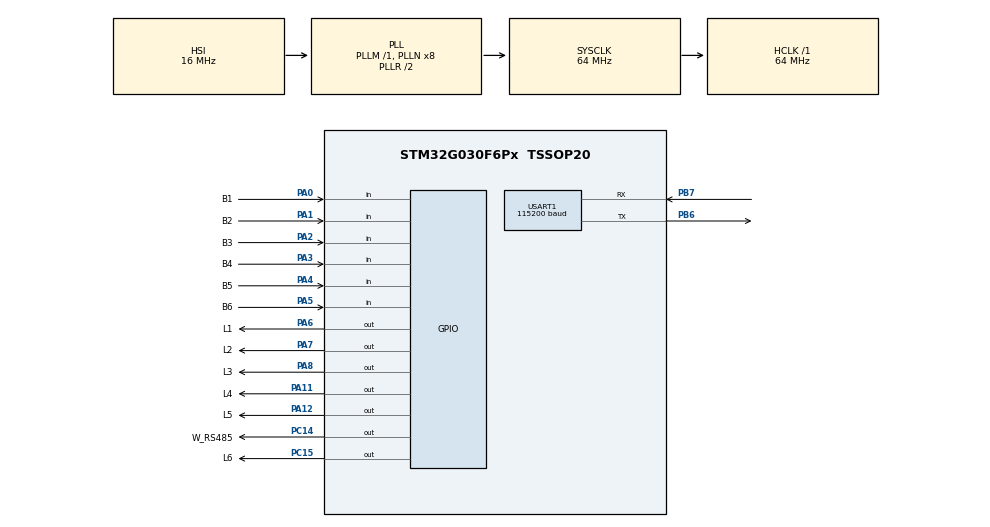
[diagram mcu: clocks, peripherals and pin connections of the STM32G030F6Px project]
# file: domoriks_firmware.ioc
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Dma.Request0=USART1_RX
Dma.USART1_RX.0.Direction=DMA_PERIPH_TO_MEMORY
Dma.USART1_RX.0.EventEnable=DISABLE
Dma.USART1_RX.0.Instance=DMA1_Channel1
Dma.USART1_RX.0.MemDataAlignment=DMA_MDATAALIGN_BYTE
Dma.USART1_RX.0.MemInc=DMA_MINC_ENABLE
Dma.USART1_RX.0.Mode=DMA_NORMAL
Dma.USART1_RX.0.PeriphDataAlignment=DMA_PDATAALIGN_BYTE
Dma.USART1_RX.0.PeriphInc=DMA_PINC_DISABLE
Dma.USART1_RX.0.Polarity=HAL_DMAMUX_REQ_GEN_RISING
Dma.USART1_RX.0.Priority=DMA_PRIORITY_LOW
Dma.USART1_RX.0.RequestNumber=1
Dma.USART1_RX.0.SignalID=NONE
Dma.USART1_RX.0.SyncEnable=DISABLE
Dma.USART1_RX.0.SyncPolarity=HAL_DMAMUX_SYNC_NO_EVENT
Dma.USART1_RX.0.SyncRequestNumber=1
Dma.USART1_RX.0.SyncSignalID=NONE
IWDG.Prescaler=IWDG_PRESCALER_256
IWDG.Reload=375
IWDG.Window=375
Mcu.Family=STM32G0
Mcu.Name=STM32G030F6Px
Mcu.Package=TSSOP20
NVIC.DMA1_Channel1_IRQn=true\:0\:0\:false\:false\:true\:false\:true\:true
NVIC.FLASH_IRQn=true\:0\:0\:false\:false\:true\:true\:true\:true
NVIC.TIM14_IRQn=true\:1\:0\:true\:false\:true\:true\:true\:true
NVIC.USART1_IRQn=true\:1\:0\:true\:false\:true\:true\:true\:true
PA0.GPIO_Label=B1
PA0.GPIO_PuPd=GPIO_NOPULL
PA0.Signal=GPIO_Input
PA1.GPIO_Label=B2
PA1.Signal=GPIO_Input
PA11\ [PA9].GPIO_Label=L4
PA11\ [PA9].Signal=GPIO_Output
PA12\ [PA10].GPIO_Label=L5
PA12\ [PA10].Signal=GPIO_Output
PA13.Mode=Serial_Wire
PA13.Signal=SYS_SWDIO
PA14-BOOT0.Mode=Serial_Wire
PA14-BOOT0.Signal=SYS_SWCLK
PA14-BOOT0__PA15.StandardMode=true
PA2.GPIO_Label=B3
PA2.Signal=GPIO_Input
PA3.GPIO_Label=B4
PA3.Signal=GPIO_Input
PA4.GPIO_Label=B5
PA4.Signal=GPIO_Input
PA5.GPIO_Label=B6
PA5.Signal=GPIO_Input
PA6.GPIO_Label=L1
PA6.Signal=GPIO_Output
PA7.GPIO_Label=L2
PA7.Signal=GPIO_Output
PA8.GPIO_Label=L3
PA8.Signal=GPIO_Output
PB0__PB1__PB2__PA8.StandardMode=true
PB3__PB4__PB5__PB6.StandardMode=true
PB6.GPIO_FM6=SYSCFG_FASTMODEPLUS_PB6
PB6.GPIO_Speed=GPIO_SPEED_FREQ_MEDIUM
PB6.Mode=Asynchronous
PB6.Signal=USART1_TX
PB7.Mode=Asynchronous
PB7.Signal=USART1_RX
PB7__PB8.StandardMode=true
PC14-OSC32_IN\ (PC14).GPIO_Label=W_RS485
PC14-OSC32_IN\ (PC14).Signal=GPIO_Output
PC14-OSC32_IN\ (PC14)__PB9.StandardMode=true
PC15-OSC32_OUT\ (PC15).GPIO_Label=L6
PC15-OSC32_OUT\ (PC15).Signal=GPIO_Output
ProjectManager.HeapSize=0x200
ProjectManager.StackSize=0x400
ProjectManager.TargetToolchain=STM32CubeIDE
RCC.ADCFreq_Value=64000000
RCC.AHBFreq_Value=64000000
RCC.CortexFreq_Value=64000000
RCC.EXTERNAL_CLOCK_VALUE=12288000
RCC.HCLKFreq_Value=64000000
RCC.HSE_VALUE=8000000
RCC.HSI_VALUE=16000000
RCC.LSE_VALUE=32768
RCC.SYSCLKFreq_VALUE=64000000
RCC.SYSCLKSource=RCC_SYSCLKSOURCE_PLLCLK
RCC.USART1CLockSelection=RCC_USART1CLKSOURCE_SYSCLK
RCC.VCOOutputFreq_Value=128000000
TIM14.AutoReloadPreload=TIM_AUTORELOAD_PRELOAD_ENABLE
TIM14.Period=39999
TIM14.Prescaler=15
TIM16.Prescaler=63
USART1.BaudRate=115200
USART1.DMADisableonRxErrorParam=ADVFEATURE_DMA_DISABLEONRXERROR
USART1.OverSampling=UART_OVERSAMPLING_16
USART1.VirtualMode-Asynchronous=VM_ASYNC
VP_IWDG_VS_IWDG.Mode=IWDG_Activate
VP_TIM14_VS_ClockSourceINT.Mode=Enable_Timer
VP_TIM16_VS_ClockSourceINT.Mode=Enable_Timer
board=custom

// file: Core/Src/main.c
/* USER CODE BEGIN Header */
/**
  ******************************************************************************
  * @file           : main.c
  * @brief          : Main program body
  ******************************************************************************
  * @attention
  *
  * Copyright (c) 2022 STMicroelectronics.
  * All rights reserved.
  *
  * This software is licensed under terms that can be found in the LICENSE file
  * in the root directory of this software component.
  * If no LICENSE file comes with this software, it is provided AS-IS.
  *
  ******************************************************************************
  */
/* USER CODE END Header */
#include "main.h"

/* USER CODE BEGIN Includes */
#include <stdbool.h>
#include <stdint.h>

#include "timer.h"

#include "Actions/actions.h"
#include "Flash/flash.h"

#include "IO/inputs.h"
#include "IO/input_handler.h"

#include "IO/outputs.h"

#include "Modbus/modbus.h"
#include "Modbus/modbusm.h"
#include "Modbus/modbus_ascii.h"
#include "Modbus/modbus_rtu.h"
#include "Modbus/modbusm_handler.h"

#include "Actions/actions.h"
/* USER CODE END Includes */

IWDG_HandleTypeDef hiwdg;

TIM_HandleTypeDef htim14;
TIM_HandleTypeDef htim16;

UART_HandleTypeDef huart1;
DMA_HandleTypeDef hdma_usart1_rx;

void SystemClock_Config(void);
static void MX_GPIO_Init(void);
static void MX_DMA_Init(void);
static void MX_USART1_UART_Init(void);
static void MX_TIM14_Init(void);
static void MX_IWDG_Init(void);
static void MX_TIM16_Init(void);

/* USER CODE BEGIN 0 */
uint8_t MODBUS_ID;
//#define SAVE_2_FLASH
//#define UPLOAD_NEW_MODBUS_ID
#ifdef UPLOAD_NEW_MODBUS_ID
  __attribute__((section(".modbus_id"))) const uint8_t new_id = 11;  // Logic ID, e.g., 1
#endif

volatile uint8_t uart_rxBuffer[UART_BUFFER_SIZE] = { 0 };
volatile uint8_t new_rxdata = 0;
volatile uint16_t rxDataLen = 0;

/* USER CODE END 0 */

int main(void)
{

  /* MCU Configuration--------------------------------------------------------*/

  /* Reset of all peripherals, Initializes the Flash interface and the Systick. */
  HAL_Init();

  /* Configure the system clock */
  SystemClock_Config();

  /* Initialize all configured peripherals */
  MX_GPIO_Init();
  MX_DMA_Init();
  MX_USART1_UART_Init();
  MX_TIM14_Init();
  MX_IWDG_Init();
  MX_TIM16_Init();
  /* USER CODE BEGIN 2 */
  HAL_TIM_Base_Start_IT(&htim14);

  /* Initialize microsecond timer used for Modbus T3.5 detection */
  timer_us_init();

  HAL_UARTEx_ReceiveToIdle_DMA(&huart1, uart_rxBuffer, UART_BUFFER_SIZE);
  __HAL_UART_ENABLE_IT(&huart1, UART_IT_IDLE);
  __HAL_DMA_DISABLE_IT(&hdma_usart1_rx, DMA_IT_HT);

  MODBUS_ID = *(uint8_t*)MODBUS_ID_ADDRESS;

  HAL_GPIO_WritePin(L6_GPIO_Port, L6_Pin, 0);
  HAL_GPIO_WritePin(L5_GPIO_Port, L5_Pin, 0);
  HAL_GPIO_WritePin(L4_GPIO_Port, L4_Pin, 0);
  HAL_GPIO_WritePin(L3_GPIO_Port, L3_Pin, 0);
  HAL_GPIO_WritePin(L2_GPIO_Port, L2_Pin, !0);
  HAL_GPIO_WritePin(L1_GPIO_Port, L1_Pin, !0);
  HAL_IWDG_Refresh(&hiwdg);
  HAL_Delay(500);

  for (int i = 0; i < MODBUS_ID / 10; i++)
  {
	  HAL_IWDG_Refresh(&hiwdg);
	  HAL_GPIO_WritePin(L1_GPIO_Port, L1_Pin, !1);
	  HAL_Delay(250);
	  HAL_GPIO_WritePin(L1_GPIO_Port, L1_Pin, !0);
	  HAL_Delay(150);
  }

  HAL_IWDG_Refresh(&hiwdg);
  HAL_Delay(500);

  for (int i = 0; i < MODBUS_ID % 10; i++)
  {
	  HAL_IWDG_Refresh(&hiwdg);
	  HAL_GPIO_WritePin(L1_GPIO_Port, L1_Pin, !1);
	  HAL_Delay(250);
	  HAL_GPIO_WritePin(L1_GPIO_Port, L1_Pin, !0);
	  HAL_Delay(150);
  }

  HAL_IWDG_Refresh(&hiwdg);
  uint32_t timer_blink = TIMER_SET();
  HAL_GPIO_WritePin(W_RS485_GPIO_Port, W_RS485_Pin, 0); //Set RS485 in read mode

#ifdef SAVE_2_FLASH

  // Project: Test project
  // Generated by Domoriks Configurator

  // Module: Module 1
//  EventAction input1_singlePress = { toggle, nop, 0, 100, 64, 0, 0, 0 };
//  EventAction input2_singlePress = { toggle, nop, 0, 100, 64, 2, 0, 0 };
//  EventAction input3_singlePress = { toggle, nop, 0, 100, 64, 3, 0, 0 };
//  EventAction input4_singlePress = { toggle, nop, 0, 100, 64, 7, 0, 0 };
//  EventAction input5_singlePress = { toggle, nop, 0, 100, 2, 4, 0, 0 };
//  EventAction input6_singlePress = { toggle, nop, 0, 100, 2, 5, 0, 0 };

//  // Module: Module 2
//  EventAction input1_singlePress = { toggle, nop, 0, 100, 1, 0, 0, 0 };
//  EventAction input2_singlePress = { toggle, nop, 0, 100, 1, 1, 0, 0 };
//  EventAction input3_singlePress = { toggle, nop, 0, 100, 1, 2, 0, 0 };
//  EventAction input4_singlePress = { toggle, nop, 0, 100, 1, 3, 0, 0 };
//  EventAction input5_singlePress = { toggle, nop, 0, 100, 1, 4, 0, 0 };
//  EventAction input6_singlePress = { toggle, nop, 0, 100, 1, 5, 0, 0 };

//  // Module: Module 3
//  EventAction input1_singlePress = { toggle, nop, 0, 100, 4, 0, 0, 0 };
//  EventAction input2_singlePress = { toggle, nop, 0, 100, 4, 1, 0, 0 };
//  EventAction input3_singlePress = { toggle, nop, 0, 100, 4, 2, 0, 0 };
//  EventAction input4_singlePress = { toggle, nop, 0, 100, 4, 3, 0, 0 };
//  EventAction input5_singlePress = { toggle, nop, 0, 100, 4, 4, 0, 0 };
//  EventAction input6_singlePress = { toggle, nop, 0, 100, 4, 5, 0, 0 };
//
//  // Module: Module 4
//  EventAction input1_singlePress = { toggle, nop, 0, 100, 3, 0, 0, 0 };
//  EventAction input2_singlePress = { toggle, nop, 0, 100, 3, 1, 0, 0 };
//  EventAction input3_singlePress = { toggle, nop, 0, 100, 3, 2, 0, 0 };
//  EventAction input4_singlePress = { toggle, nop, 0, 100, 3, 3, 0, 0 };
//  EventAction input5_singlePress = { toggle, nop, 0, 100, 3, 4, 0, 0 };
//  EventAction input6_singlePress = { toggle, nop, 0, 100, 3, 5, 0, 0 };

  Flash_Erase(USERDATA_ORIGIN, USERDATA_LENGTH);
  Flash_WriteInputs(inputs);
  Flash_WriteInputActions(inputActions);
  Flash_WriteExtraActions(extraActions);
  Flash_WriteOutputs(outputs);
#endif //SAVE_2_FLASH

  Flash_ReadInputs(inputs);
  Flash_ReadInputActions(inputActions);
  Flash_ReadExtraActions(extraActions);
  Flash_ReadOutputs(outputs);

  /* USER CODE END 2 */

  /* Infinite loop */
  /* USER CODE BEGIN WHILE */
  HAL_TIM_Base_Start_IT(&htim14);

  while (1)
  {
	//feed the dog
	HAL_IWDG_Refresh(&hiwdg); 		//375 * 8ms = 3sec
									//256ms 32 * (32000khz/256=8ms) OLD

    //call every 10ms
    //GLOBAL_TIMER_TICK(); -> interrupt (done in stm32g0xxit.c)

    if (TIMER_ELAPSED_MS(timer_blink, 1000)) {
      timer_blink = TIMER_SET();

    }
    //read inputs
    update_inputs();

    //input handler
    input_handler();

    //prep registers
    modbus_get_outputs();

    //modbus RS485
    modbus();

    //Parse single output
    modbus_set_outputs();

    modbus_parse_register(); // always after set. this write outputs directly
    modbus_parse_action_update();

    //write outputs
    update_outputs();
    /* USER CODE END WHILE */

  }
}

void SystemClock_Config(void)
{
  RCC_OscInitTypeDef RCC_OscInitStruct = {0};
  RCC_ClkInitTypeDef RCC_ClkInitStruct = {0};

  /** Configure the main internal regulator output voltage
  */
  HAL_PWREx_ControlVoltageScaling(PWR_REGULATOR_VOLTAGE_SCALE1);

  /** Initializes the RCC Oscillators according to the specified parameters
  * in the RCC_OscInitTypeDef structure.
  */
  RCC_OscInitStruct.OscillatorType = RCC_OSCILLATORTYPE_HSI|RCC_OSCILLATORTYPE_LSI;
  RCC_OscInitStruct.HSIState = RCC_HSI_ON;
  RCC_OscInitStruct.HSIDiv = RCC_HSI_DIV1;
  RCC_OscInitStruct.HSICalibrationValue = RCC_HSICALIBRATION_DEFAULT;
  RCC_OscInitStruct.LSIState = RCC_LSI_ON;
  RCC_OscInitStruct.PLL.PLLState = RCC_PLL_ON;
  RCC_OscInitStruct.PLL.PLLSource = RCC_PLLSOURCE_HSI;
  RCC_OscInitStruct.PLL.PLLM = RCC_PLLM_DIV1;
  RCC_OscInitStruct.PLL.PLLN = 8;
  RCC_OscInitStruct.PLL.PLLP = RCC_PLLP_DIV2;
  RCC_OscInitStruct.PLL.PLLR = RCC_PLLR_DIV2;
  if (HAL_RCC_OscConfig(&RCC_OscInitStruct) != HAL_OK)
  {
    Error_Handler();
  }

  /** Initializes the CPU, AHB and APB buses clocks
  */
  RCC_ClkInitStruct.ClockType = RCC_CLOCKTYPE_HCLK|RCC_CLOCKTYPE_SYSCLK
                              |RCC_CLOCKTYPE_PCLK1;
  RCC_ClkInitStruct.SYSCLKSource = RCC_SYSCLKSOURCE_PLLCLK;
  RCC_ClkInitStruct.AHBCLKDivider = RCC_SYSCLK_DIV1;
  RCC_ClkInitStruct.APB1CLKDivider = RCC_HCLK_DIV1;

  if (HAL_RCC_ClockConfig(&RCC_ClkInitStruct, FLASH_LATENCY_2) != HAL_OK)
  {
    Error_Handler();
  }
}

static void MX_IWDG_Init(void)
{

  hiwdg.Instance = IWDG;
  hiwdg.Init.Prescaler = IWDG_PRESCALER_256;
  hiwdg.Init.Window = 375;
  hiwdg.Init.Reload = 375;
  if (HAL_IWDG_Init(&hiwdg) != HAL_OK)
  {
    Error_Handler();
  }

}

static void MX_TIM14_Init(void)
{

  htim14.Instance = TIM14;
  htim14.Init.Prescaler = 15;
  htim14.Init.CounterMode = TIM_COUNTERMODE_UP;
  htim14.Init.Period = 39999;
  htim14.Init.ClockDivision = TIM_CLOCKDIVISION_DIV1;
  htim14.Init.AutoReloadPreload = TIM_AUTORELOAD_PRELOAD_ENABLE;
  if (HAL_TIM_Base_Init(&htim14) != HAL_OK)
  {
    Error_Handler();
  }

}

static void MX_TIM16_Init(void)
{

  htim16.Instance = TIM16;
  htim16.Init.Prescaler = 63;
  htim16.Init.CounterMode = TIM_COUNTERMODE_UP;
  htim16.Init.Period = 65535;
  htim16.Init.ClockDivision = TIM_CLOCKDIVISION_DIV1;
  htim16.Init.RepetitionCounter = 0;
  htim16.Init.AutoReloadPreload = TIM_AUTORELOAD_PRELOAD_DISABLE;
  if (HAL_TIM_Base_Init(&htim16) != HAL_OK)
  {
    Error_Handler();
  }

}

static void MX_USART1_UART_Init(void)
{

  huart1.Instance = USART1;
  huart1.Init.BaudRate = 115200;
  huart1.Init.WordLength = UART_WORDLENGTH_8B;
  huart1.Init.StopBits = UART_STOPBITS_1;
  huart1.Init.Parity = UART_PARITY_NONE;
  huart1.Init.Mode = UART_MODE_TX_RX;
  huart1.Init.HwFlowCtl = UART_HWCONTROL_NONE;
  huart1.Init.OverSampling = UART_OVERSAMPLING_16;
  huart1.Init.OneBitSampling = UART_ONE_BIT_SAMPLE_DISABLE;
  huart1.Init.ClockPrescaler = UART_PRESCALER_DIV1;
  huart1.AdvancedInit.AdvFeatureInit = UART_ADVFEATURE_DMADISABLEONERROR_INIT;
  huart1.AdvancedInit.DMADisableonRxError = UART_ADVFEATURE_DMA_DISABLEONRXERROR;
  if (HAL_UART_Init(&huart1) != HAL_OK)
  {
    Error_Handler();
  }
  if (HAL_UARTEx_SetTxFifoThreshold(&huart1, UART_TXFIFO_THRESHOLD_1_8) != HAL_OK)
  {
    Error_Handler();
  }
  if (HAL_UARTEx_SetRxFifoThreshold(&huart1, UART_RXFIFO_THRESHOLD_1_8) != HAL_OK)
  {
    Error_Handler();
  }
  if (HAL_UARTEx_DisableFifoMode(&huart1) != HAL_OK)
  {
    Error_Handler();
  }

}

static void MX_DMA_Init(void)
{

  /* DMA controller clock enable */
  __HAL_RCC_DMA1_CLK_ENABLE();

  /* DMA interrupt init */
  /* DMA1_Channel1_IRQn interrupt configuration */
  HAL_NVIC_SetPriority(DMA1_Channel1_IRQn, 0, 0);
  HAL_NVIC_EnableIRQ(DMA1_Channel1_IRQn);

}

static void MX_GPIO_Init(void)
{
  GPIO_InitTypeDef GPIO_InitStruct = {0};

  /* GPIO Ports Clock Enable */
  __HAL_RCC_GPIOB_CLK_ENABLE();
  __HAL_RCC_GPIOC_CLK_ENABLE();
  __HAL_RCC_GPIOA_CLK_ENABLE();

  /*Configure GPIO pin Output Level */
  HAL_GPIO_WritePin(GPIOC, W_RS485_Pin|L6_Pin, GPIO_PIN_RESET);

  /*Configure GPIO pin Output Level */
  HAL_GPIO_WritePin(GPIOA, L1_Pin|L2_Pin|L3_Pin|L4_Pin
                          |L5_Pin, GPIO_PIN_RESET);

  /*Configure GPIO pins : W_RS485_Pin L6_Pin */
  GPIO_InitStruct.Pin = W_RS485_Pin|L6_Pin;
  GPIO_InitStruct.Mode = GPIO_MODE_OUTPUT_PP;
  GPIO_InitStruct.Pull = GPIO_NOPULL;
  GPIO_InitStruct.Speed = GPIO_SPEED_FREQ_LOW;
  HAL_GPIO_Init(GPIOC, &GPIO_InitStruct);

  /*Configure GPIO pins : B1_Pin B2_Pin B3_Pin B4_Pin
                           B5_Pin B6_Pin */
  GPIO_InitStruct.Pin = B1_Pin|B2_Pin|B3_Pin|B4_Pin
                          |B5_Pin|B6_Pin;
  GPIO_InitStruct.Mode = GPIO_MODE_INPUT;
  GPIO_InitStruct.Pull = GPIO_NOPULL;
  HAL_GPIO_Init(GPIOA, &GPIO_InitStruct);

  /*Configure GPIO pins : L1_Pin L2_Pin L3_Pin L4_Pin
                           L5_Pin */
  GPIO_InitStruct.Pin = L1_Pin|L2_Pin|L3_Pin|L4_Pin
                          |L5_Pin;
  GPIO_InitStruct.Mode = GPIO_MODE_OUTPUT_PP;
  GPIO_InitStruct.Pull = GPIO_NOPULL;
  GPIO_InitStruct.Speed = GPIO_SPEED_FREQ_LOW;
  HAL_GPIO_Init(GPIOA, &GPIO_InitStruct);

}

/* USER CODE BEGIN 4 */
void HAL_UARTEx_RxEventCallback(UART_HandleTypeDef *huart, uint16_t size)
{
	if (huart->Instance == USART1)
	{
		__HAL_UART_CLEAR_IDLEFLAG(huart);
		uint8_t overflow = 0;
		if (size >= UART_BUFFER_SIZE) // Check if buffer might be full
		{
			// Wait for idle line to ensure complete reception
			while (__HAL_UART_GET_FLAG(huart, UART_FLAG_IDLE) == RESET) {}

			// Check for overflow condition
			if (__HAL_UART_GET_FLAG(huart, UART_FLAG_ORE) != RESET)
			{
				overflow = 1;
				__HAL_UART_CLEAR_OREFLAG(huart); // Clear overflow flag
				//HAL_UART_Transmit(huart, (uint8_t *)"\n\rError: overflow of the receive buffer\n\r", 41, 100);
			}
		}

    if (!overflow)
    {
      rxDataLen = size;
      new_rxdata = 1;
    } else {
			HAL_UARTEx_ReceiveToIdle_DMA(&huart1, uart_rxBuffer, UART_BUFFER_SIZE);
			__HAL_DMA_DISABLE_IT(&hdma_usart1_rx, DMA_IT_HT); // Disable half-transfer interrupt if not needed
			//clear buffer (needed after overflow)
			memset(uart_rxBuffer, 0, UART_BUFFER_SIZE);
			rxDataLen = 0;
		}
	}
}

void HAL_UART_ErrorCallback(UART_HandleTypeDef *huart)
{
	if (huart->Instance == USART1)
	{
		__HAL_UART_CLEAR_FLAG(huart, UART_CLEAR_PEF | UART_CLEAR_FEF | UART_CLEAR_NEF | UART_CLEAR_OREF);
		HAL_UART_Abort_IT(huart);
		HAL_UART_DeInit(huart);
		HAL_UART_Init(huart);

		HAL_UARTEx_ReceiveToIdle_DMA(&huart1, uart_rxBuffer, UART_BUFFER_SIZE);
		__HAL_DMA_DISABLE_IT(&hdma_usart1_rx, DMA_IT_HT); // Disable half-transfer interrupt if not needed
	}
}

void HAL_UART_TxCpltCallback(UART_HandleTypeDef *huart)
{
    if (huart->Instance == USART1)
    {
        /* Transmission finished: switch RS485 back to receive and re-arm RX DMA */
        HAL_GPIO_WritePin(W_RS485_GPIO_Port, W_RS485_Pin, GPIO_PIN_RESET);
        HAL_UARTEx_ReceiveToIdle_DMA(&huart1, uart_rxBuffer, UART_BUFFER_SIZE);
        __HAL_DMA_DISABLE_IT(&hdma_usart1_rx, DMA_IT_HT);
    }
}

//void HAL_UART_RxCpltCallback(UART_HandleTypeDef* huart)
//{
//  timer_lastbyte = TIMER_SET();						     //reset timer (time passed since last recieved byte)
//  new_uartstream = true;								 //indicate new message
//  received_buffer[uart_index++] = uart_received_byte;    //copy received byte and shift index
//
//  if (uart_index >= RECEIVE_BUFFER_SIZE) {
//    new_uartstream = false;
//    uart_index = 0;
//    memset(received_buffer, 0, sizeof(received_buffer));
//  }
//  HAL_UART_Receive_IT(&huart1, &uart_received_byte, 1); //Set new interrupt
//}

/* USER CODE END 4 */

void Error_Handler(void)
{
  __disable_irq();
  while (1)
  {
  }
}
